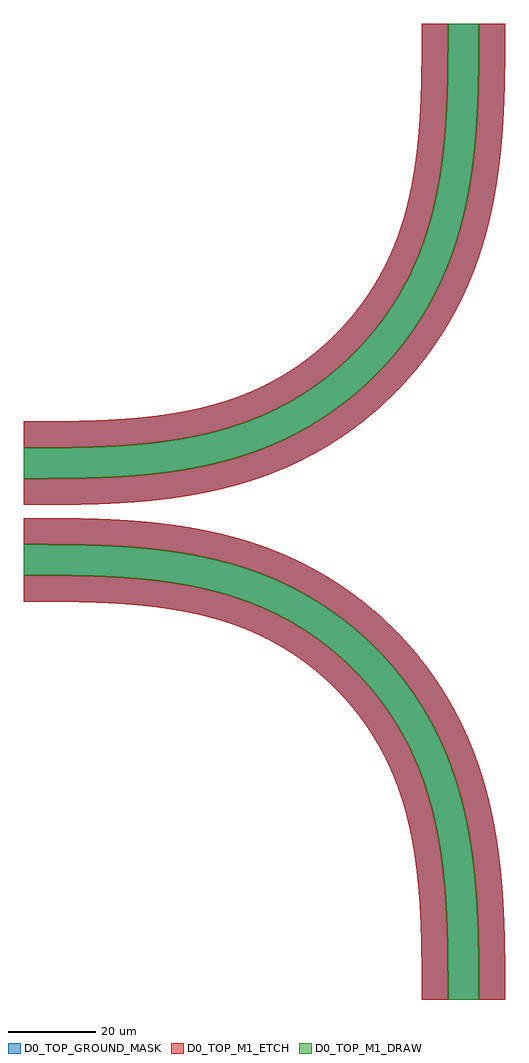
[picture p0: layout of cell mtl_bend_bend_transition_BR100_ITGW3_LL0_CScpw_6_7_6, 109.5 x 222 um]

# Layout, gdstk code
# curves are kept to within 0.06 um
import gdstk
lib = gdstk.Library(unit=1e-6, precision=1e-09)
def P(c, l, *ps):  # polygons
    for p in ps: c.add(gdstk.Polygon(p, *l))
D0_TOP_M1_DRAW = (1, 0)
D0_TOP_M1_ETCH = (1, 1)
D0_TOP_GROUND_MASK = (110, 0)

unnamed_5 = lib.new_cell('Unnamed_5')
P(unnamed_5, D0_TOP_M1_DRAW, [(96.5,-100),(96.36,-85.17),(96.123,-79.403),(95.766,-74.326),(95.188,-68.902),(94.546,-64.554),(93.672,-60.004),(92.643,-55.77),(91.318,-51.372),(89.921,-47.554),(88.3,-43.822),(86.392,-40.079),(84.322,-36.571),(82.043,-33.195),(79.563,-29.963),(76.632,-26.608),(74.131,-24.069),(71.209,-21.417),(68.338,-19.095),(65.345,-16.935),(62.128,-14.877),(59.024,-13.124),(55.717,-11.485),(52.21,-9.985),(46.929,-8.137),(41.748,-6.727),(36.081,-5.563),(30.198,-4.7),(23.725,-4.078),(17.587,-3.734),(10.482,-3.549),(0,-3.5),(0,3.5),(9.774,3.461),(16.65,3.306),(22.611,3.015),(28.452,2.536),(33.755,1.892),(39.183,0.984),(44.446,-0.18),(49.257,-1.53),(53.868,-3.121),(58.523,-5.071),(62.8,-7.205),(67.049,-9.685),(71.01,-12.359),(74.899,-15.373),(78.477,-18.541),(81.844,-21.933),(85.427,-26.082),(88.773,-30.6),(91.837,-35.481),(94.269,-40.078),(96.423,-44.96),(98.345,-50.345),(99.887,-55.823),(101.087,-61.359),(101.711,-65.022),(102.266,-69.1),(102.692,-73.179),(103.049,-77.932),(103.416,-87.399),(103.5,-100)])
P(unnamed_5, D0_TOP_M1_ETCH, [(103.5,-100),(103.467,-90.764),(103.333,-84.161),(103.049,-77.932),(102.642,-72.635),(102.024,-67.197),(101.285,-62.443),(100.333,-57.709),(99.18,-53.142),(97.733,-48.494),(96.161,-44.312),(94.269,-40.078),(92.253,-36.215),(89.938,-32.358),(87.393,-28.649),(84.627,-25.101),(81.459,-21.523),(78.477,-18.541),(75.438,-15.824),(72.366,-13.363),(68.7,-10.755),(65.369,-8.659),(61.556,-6.549),(57.755,-4.723),(53.868,-3.121),(48.725,-1.366),(43.235,0.115),(37.421,1.309),(31.172,2.233),(25.055,2.841),(18.003,3.255),(10.312,3.454),(0,3.5),(0,9.5),(9.71,9.462),(16.721,9.307),(22.995,9.003),(29.199,8.491),(35.174,7.749),(40.75,6.791),(46.334,5.531),(51.328,4.109),(56.561,2.272),(61.166,0.318),(65.651,-1.926),(69.986,-4.445),(74.155,-7.231),(78.26,-10.368),(82.265,-13.867),(85.925,-17.513),(89.632,-21.74),(92.945,-26.092),(96.033,-30.79),(98.784,-35.693),(101.184,-40.777),(103.26,-46.119),(104.997,-51.665),(106.468,-57.675),(107.293,-61.969),(107.951,-66.253),(108.491,-70.801),(108.897,-75.46),(109.195,-80.5),(109.384,-85.904),(109.5,-100)],
  [(90.5,-100),(90.38,-85.984),(90.166,-80.367),(89.841,-75.466),(89.387,-70.889),(88.728,-66.15),(87.959,-61.983),(86.973,-57.794),(85.774,-53.719),(84.476,-50.1),(82.921,-46.483),(81.19,-43.072),(79.063,-39.482),(76.97,-36.42),(74.695,-33.49),(72.168,-30.619),(69.55,-27.991),(67.044,-25.751),(64.325,-23.582),(61.488,-21.571),(58.541,-19.725),(55.288,-17.944),(52.251,-16.503),(49.142,-15.232),(44.372,-13.632),(39.659,-12.4),(34.45,-11.371),(29.111,-10.613),(23.41,-10.071),(17.091,-9.719),(10.007,-9.543),(0,-9.5),(0,-3.5),(9.293,-3.534),(15.881,-3.672),(22.032,-3.962),(27.229,-4.377),(32.253,-4.966),(37.222,-5.769),(42.122,-6.817),(46.441,-7.988),(50.549,-9.354),(54.789,-11.065),(58.687,-12.946),(62.781,-15.274),(66.391,-17.661),(70.037,-20.437),(73.392,-23.368),(76.545,-26.515),(79.884,-30.359),(82.777,-34.235),(85.448,-38.419),(87.803,-42.789),(89.827,-47.319),(91.517,-51.977),(92.904,-56.76),(94.135,-62.271),(94.772,-65.956),(95.3,-69.802),(96.038,-77.968),(96.412,-87.276),(96.5,-100)])
P(unnamed_5, D0_TOP_GROUND_MASK, [(90.5,-100),(90.393,-86.499),(90.185,-80.747),(89.91,-76.34),(89.525,-72.118),(88.97,-67.719),(88.288,-63.639),(87.409,-59.526),(86.368,-55.628),(85.286,-52.279),(84.044,-49.028),(82.521,-45.646),(80.966,-42.666),(79.063,-39.482),(76.97,-36.42),(74.695,-33.49),(71.689,-30.114),(68.614,-27.125),(65.154,-24.216),(61.681,-21.7),(57.94,-19.376),(54.041,-17.328),(49.9,-15.524),(45.722,-14.046),(41.4,-12.819),(36.835,-11.803),(32.038,-10.995),(26.894,-10.373),(21.653,-9.95),(15.813,-9.673),(9.356,-9.535),(0,-9.5),(0,9.5),(10.119,9.457),(17.692,9.272),(24.962,8.866),(31.044,8.29),(37.173,7.437),(43.042,6.313),(48.62,4.917),(53.74,3.309),(58.663,1.422),(63.63,-0.871),(68.689,-3.653),(73.41,-6.705),(77.788,-9.986),(81.931,-13.557),(85.925,-17.513),(89.439,-21.505),(92.055,-24.861),(94.321,-28.097),(96.58,-31.703),(98.503,-35.154),(100.318,-38.834),(101.996,-42.737),(103.456,-46.685),(104.713,-50.666),(105.851,-54.954),(106.734,-58.963),(107.507,-63.255),(108.189,-68.103),(108.693,-72.923),(109.055,-77.846),(109.321,-83.694),(109.457,-89.881),(109.5,-100)])

unnamed_6 = lib.new_cell('Unnamed_6')
P(unnamed_6, D0_TOP_M1_DRAW, [(0,-3.5),(0,3.5),(14.83,3.64),(20.597,3.877),(26.063,4.268),(31.098,4.812),(36.081,5.563),(40.873,6.523),(45.092,7.595),(49.351,8.928),(53.503,10.511),(57.439,12.31),(61.251,14.359),(64.817,16.579),(68.338,19.095),(71.594,21.749),(74.769,24.691),(77.831,27.927),(80.594,31.258),(83.065,34.655),(85.448,38.419),(87.576,42.333),(89.44,46.38),(90.904,50.169),(92.3,54.539),(93.477,59.127),(94.347,63.411),(95.121,68.388),(95.72,73.807),(96.101,79.012),(96.36,85.17),(96.5,100),(103.5,100),(103.467,90.764),(103.333,84.161),(103.049,77.932),(102.603,72.227),(101.987,66.925),(101.187,61.901),(100.115,56.765),(98.912,52.207),(97.457,47.704),(95.727,43.276),(93.77,39.07),(91.555,34.995),(89.01,30.949),(86.381,27.299),(83.351,23.603),(80.188,20.21),(76.819,17.021),(73.146,13.963),(69.4,11.227),(65.369,8.659),(61.181,6.357),(56.982,4.384),(52.69,2.684),(48.059,1.166),(43.369,-0.083),(38.641,-1.087),(33.755,-1.892),(27.908,-2.59),(22.068,-3.049),(15.839,-3.333),(9.236,-3.467)])
P(unnamed_6, D0_TOP_M1_ETCH, [(0,3.5),(0,9.5),(9.356,9.535),(16.197,9.686),(22.658,10.017),(28.374,10.529),(33.609,11.233),(38.84,12.217),(43.578,13.402),(48.16,14.87),(51.292,16.09),(54.354,17.479),(57.334,19.034),(60.028,20.627),(62.827,22.49),(65.7,24.647),(68.269,26.815),(70.715,29.121),(73.03,31.558),(75.208,34.119),(77.242,36.796),(79.063,39.482),(80.796,42.363),(82.419,45.438),(83.774,48.387),(85.011,51.512),(86.533,56.195),(87.783,61.16),(88.767,66.391),(89.471,71.626),(89.983,77.342),(90.314,83.803),(90.465,90.644),(90.5,100),(96.5,100),(96.36,85.17),(96.123,79.403),(95.732,73.937),(95.188,68.902),(94.437,63.919),(93.477,59.127),(92.405,54.908),(91.072,50.649),(89.489,46.497),(87.69,42.561),(85.641,38.749),(83.421,35.183),(80.905,31.662),(78.251,28.406),(75.309,25.231),(72.073,22.169),(68.742,19.406),(65.345,16.935),(61.581,14.552),(57.667,12.424),(53.62,10.56),(49.831,9.096),(45.461,7.7),(40.873,6.523),(36.589,5.653),(31.612,4.879),(26.193,4.28),(20.988,3.899),(14.83,3.64)],
  [(0,-9.5),(0,-3.5),(10.312,-3.454),(18.003,-3.255),(24.783,-2.862),(30.9,-2.266),(36.878,-1.403),(42.831,-0.209),(48.059,1.166),(53.214,2.876),(56.982,4.384),(60.553,6.041),(64.153,7.954),(67.642,10.062),(71.01,12.359),(74.028,14.661),(76.819,17.021),(79.79,19.812),(82.509,22.658),(85.339,25.972),(87.641,28.99),(89.938,32.358),(92.046,35.847),(93.896,39.321),(95.504,42.76),(97.027,46.524),(98.794,51.807),(100.178,57.035),(101.356,62.85),(102.266,69.1),(102.862,75.217),(103.255,81.997),(103.454,89.688),(103.5,100),(109.5,100),(109.462,90.29),(109.307,83.279),(109.003,77.005),(108.491,70.801),(107.749,64.826),(106.875,59.679),(105.851,54.954),(104.46,49.811),(102.907,45.129),(101.063,40.498),(98.784,35.693),(96.425,31.442),(93.641,27.09),(90.769,23.166),(87.665,19.423),(84.232,15.768),(80.577,12.335),(76.834,9.231),(72.91,6.359),(68.558,3.575),(64.307,1.216),(59.502,-1.063),(54.871,-2.907),(50.189,-4.46),(45.046,-5.851),(40.321,-6.875),(35.174,-7.749),(29.199,-8.491),(22.995,-9.003),(16.721,-9.307),(9.71,-9.462)])
P(unnamed_6, D0_TOP_GROUND_MASK, [(0,-9.5),(0,9.5),(14.787,9.641),(20.012,9.854),(25.033,10.201),(29.969,10.717),(34.81,11.432),(39.425,12.347),(43.236,13.306),(47.28,14.561),(50.972,15.956),(54.562,17.581),(57.94,19.376),(61.392,21.507),(64.695,23.862),(67.835,26.431),(70.715,29.121),(73.569,32.165),(75.997,35.121),(78.3,38.319),(80.508,41.859),(82.419,45.438),(84.044,49.028),(85.439,52.72),(86.694,56.764),(87.653,60.575),(88.568,65.19),(89.283,70.031),(89.799,74.967),(90.146,79.988),(90.359,85.213),(90.5,100),(109.5,100),(109.462,90.29),(109.307,83.279),(109.003,77.005),(108.491,70.801),(107.749,64.826),(106.875,59.679),(105.851,54.954),(104.46,49.811),(102.907,45.129),(101.063,40.498),(98.784,35.693),(96.425,31.442),(93.641,27.09),(90.769,23.166),(87.665,19.423),(84.232,15.768),(80.577,12.335),(76.834,9.231),(72.91,6.359),(68.558,3.575),(64.307,1.216),(59.502,-1.063),(54.871,-2.907),(50.189,-4.46),(45.046,-5.851),(40.321,-6.875),(35.174,-7.749),(29.199,-8.491),(22.995,-9.003),(16.721,-9.307),(9.71,-9.462)])

mtl_bend_bend_transition = lib.new_cell('mtl_bend_bend_transition_BR100_ITGW3_LL0_CScpw_6_7_6')
mtl_bend_bend_transition.add(gdstk.Reference(unnamed_5, (0,-11)))
mtl_bend_bend_transition.add(gdstk.Reference(unnamed_6, (0,11)))

lib.write_gds('mtl_bend_bend_transition_BR100_ITGW3_LL0_CScpw_6_7_6.gds')
